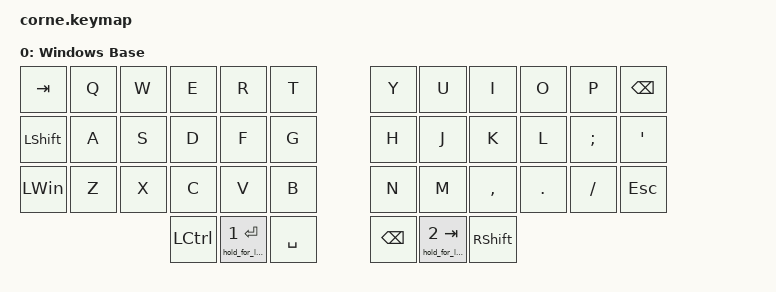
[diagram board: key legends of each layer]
/*
 * Copyright (c) 2020 The ZMK Contributors
 *
 * SPDX-License-Identifier: MIT
 */

#include <behaviors.dtsi>
#include <dt-bindings/zmk/bt.h>
#include <dt-bindings/zmk/keys.h>

/ {
    
    keymap {
        compatible = "zmk,keymap";

        win_base {
            // -----------------------------------------------------------------------------------------
            // |  TAB |  Q  |  W  |  E  |  R  |  T  |   |  Y  |  U   |  I  |  O  |  P  | BKSP |
            // | CTRL |  A  |  S  |  D  |  F  |  G  |   |  H  |  J   |  K  |  L  |  ;  |  '   |
            // | SHFT |  Z  |  X  |  C  |  V  |  B  |   |  N  |  M   |  ,  |  .  |  /  | ESC  |
            //                    | GUI | LWR | SPC |   | ENT | RSE  | ALT |

            bindings = <
&kp TAB       &kp Q  &kp W  &kp E      &kp R                         &kp T        &kp Y          &kp U                       &kp I            &kp O    &kp P     &kp BSPC
&kp LSHIFT    &kp A  &kp S  &kp D      &kp F                         &kp G        &kp H          &kp J                       &kp K            &kp L    &kp SEMI  &kp SQT
&kp LEFT_WIN  &kp Z  &kp X  &kp C      &kp V                         &kp B        &kp N          &kp M                       &kp COMMA        &kp DOT  &kp FSLH  &kp ESC
                            &kp LCTRL  &hold_for_layer_shft 1 ENTER  &kp SPACE    &kp BACKSPACE  &hold_for_layer_shft 2 TAB  &kp RIGHT_SHIFT
            >;

            label = "Windows Base";
        };
    };
};
